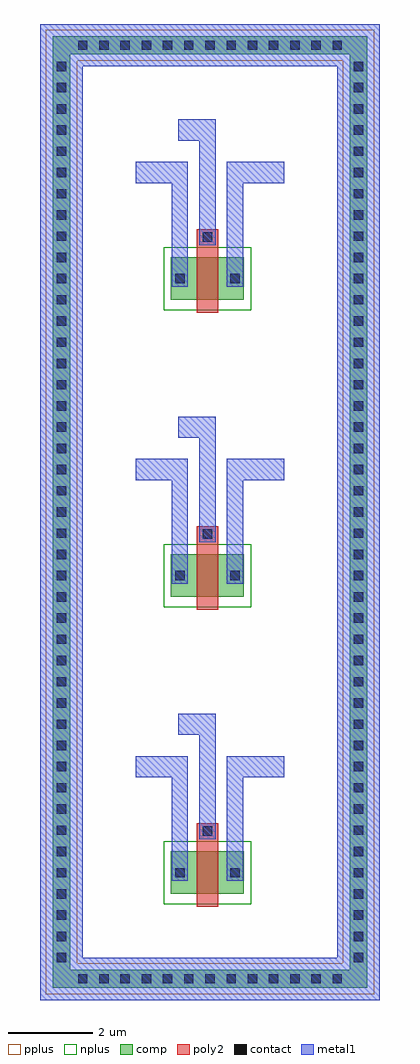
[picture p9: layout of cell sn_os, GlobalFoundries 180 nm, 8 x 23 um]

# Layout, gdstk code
import gdstk
lib = gdstk.Library(unit=1e-6, precision=1e-09)
def R(c, l, rs):  # rectangles x0, y0, x1, y1
    for r in rs: c.add(gdstk.rectangle(r[:2], r[2:], *l))
def A(c, l, x, y, w, h, nx, ny, dx, dy):  # array of equal rectangles
    R(c, l, [(x+i*dx, y+j*dy, x+i*dx+w, y+j*dy+h) for i in range(nx) for j in range(ny)])
comp = (22, 0)
poly2 = (30, 0)
pplus = (31, 0)
nplus = (32, 0)
contact = (33, 0)
metal1 = (34, 0)

nfet__12 = lib.new_cell('nfet__12')
R(nfet__12, comp, [(-0.42,0,0,1), (0,0,0.88,1), (0.88,0,1.3,1)])
R(nfet__12, poly2, [(0.19,-0.3,0.69,1.3), (0.19,1.3,0.69,1.66)])
R(nfet__12, nplus, [(-0.59,-0.24,1.47,1.24)])
R(nfet__12, contact, [(-0.32,0.39,-0.1,0.61), (0.98,0.39,1.2,0.61), (0.33,1.37,0.55,1.59)])
R(nfet__12, metal1, [(-0.4,0.305,-0.02,0.695), (0.9,0.305,1.28,0.695), (0.25,1.285,0.63,1.675)])

sn_os = lib.new_cell('sn_os')
R(sn_os, comp, [(-3.21,-2.21,-2.79,20.21), (-2.79,-2.21,3.79,-1.79), (3.79,-2.21,4.21,20.21), (-2.79,19.79,3.79,20.21)])
R(sn_os, pplus, [(-3.37,-2.37,4.37,-1.63), (-3.37,-2.37,-2.63,20.37), (3.63,-2.37,4.37,20.37), (-3.37,19.63,4.37,20.37)])
A(sn_os, contact, -2.61, -2.11, 0.22, 0.22, 13, 2, 0.5, 22)
A(sn_os, contact, -3.11, -1.61, 0.22, 0.22, 1, 43, 0, 0.5)
A(sn_os, contact, 3.89, -1.61, 0.22, 0.22, 1, 43, 0, 0.5)
A(sn_os, metal1, -0.4, 0.675, 0.38, 2.575, 1, 3, 0, 7)
A(sn_os, metal1, 0.9, 0.675, 0.38, 2.575, 1, 3, 0, 7)
A(sn_os, metal1, 0.25, 1.655, 0.38, 2.595, 1, 3, 0, 7)
A(sn_os, metal1, -1.25, 2.75, 1.23, 0.5, 1, 3, 0, 7)
A(sn_os, metal1, 0.9, 2.75, 1.35, 0.5, 1, 3, 0, 7)
A(sn_os, metal1, -0.25, 3.75, 0.88, 0.5, 1, 3, 0, 7)
R(sn_os, metal1, [(-3.5,-2.5,-2.5,20.5), (-2.5,-2.5,3.5,-1.5), (3.5,-2.5,4.5,20.5), (-2.5,19.5,3.5,20.5)])
sn_os.add(gdstk.Reference(nfet__12, (0,0)))
sn_os.add(gdstk.Reference(nfet__12, (0,7)))
sn_os.add(gdstk.Reference(nfet__12, (0,14)))

lib.write_gds('sn_os.gds')
